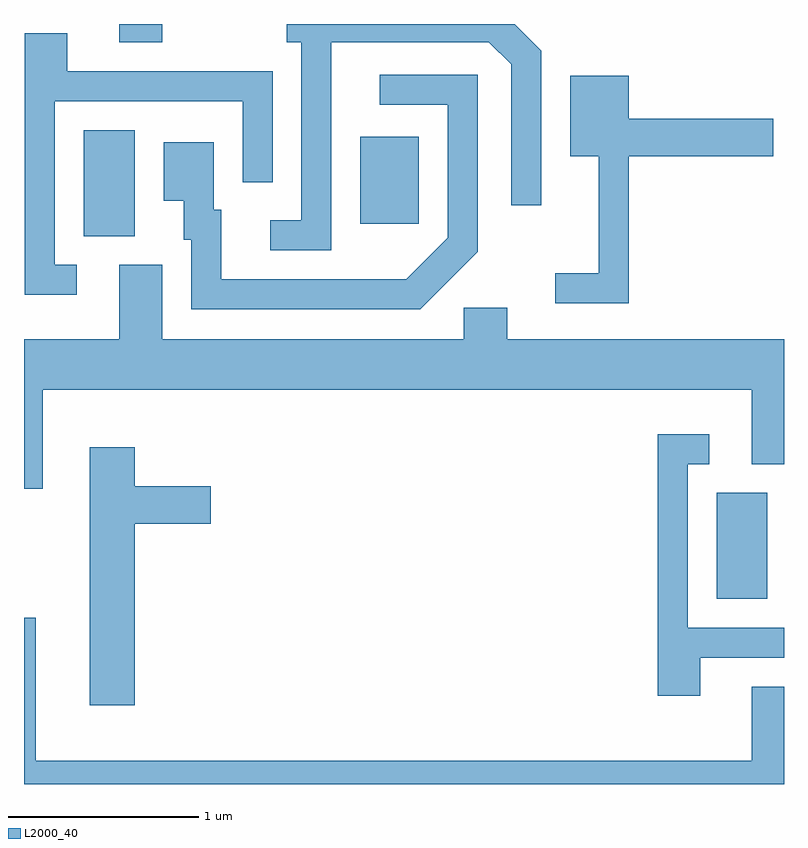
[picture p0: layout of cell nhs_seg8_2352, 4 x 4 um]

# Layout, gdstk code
import gdstk
lib = gdstk.Library(unit=1e-6, precision=1e-09)
def R(c, l, rs):  # rectangles x0, y0, x1, y1
    for r in rs: c.add(gdstk.rectangle(r[:2], r[2:], *l))
def P(c, l, *ps):  # polygons
    for p in ps: c.add(gdstk.Polygon(p, *l))
L2000_40 = (2000, 40)

nhs_seg8_2352 = lib.new_cell('nhs_seg8_2352')
R(nhs_seg8_2352, L2000_40, [(259.256,1835.316,259.524,1835.874), (255.926,1837.226,256.194,1837.784), (257.381,1837.291,257.689,1837.749), (256.111,1838.246,256.339,1838.342)])
P(nhs_seg8_2352, L2000_40, [(257.229,1838.246),(258.058,1838.246),(258.176,1838.129),(258.176,1837.388),(258.334,1837.388),(258.334,1838.202),(258.194,1838.342),(256.993,1838.342),(256.993,1838.246),(257.071,1838.246),(257.071,1837.309),(256.908,1837.309),(256.908,1837.151),(257.229,1837.151)],
  [(255.888,1837.074),(255.774,1837.074),(255.774,1837.936),(256.761,1837.936),(256.761,1837.508),(256.919,1837.508),(256.919,1838.094),(255.839,1838.094),(255.839,1838.294),(255.616,1838.294),(255.616,1836.916),(255.888,1836.916)],
  [(257.999,1837.144),(257.999,1838.074),(257.483,1838.074),(257.483,1837.916),(257.841,1837.916),(257.841,1837.217),(257.623,1836.999),(256.649,1836.999),(256.649,1837.364),(256.609,1837.364),(256.609,1837.719),(256.346,1837.719),(256.346,1837.411),(256.451,1837.411),(256.451,1837.206),(256.491,1837.206),(256.491,1836.841),(257.697,1836.841)],
  [(258.794,1837.646),(259.554,1837.646),(259.554,1837.844),(258.794,1837.844),(258.794,1838.069),(258.486,1838.069),(258.486,1837.646),(258.636,1837.646),(258.636,1837.029),(258.408,1837.029),(258.408,1836.871),(258.794,1836.871)],
  [(255.709,1836.416),(259.441,1836.416),(259.441,1836.026),(259.611,1836.026),(259.611,1836.684),(258.154,1836.684),(258.154,1836.849),(257.926,1836.849),(257.926,1836.684),(256.339,1836.684),(256.339,1837.074),(256.111,1837.074),(256.111,1836.684),(255.611,1836.684),(255.611,1835.896),(255.709,1835.896)],
  [(259.169,1835.006),(259.611,1835.006),(259.611,1835.164),(259.104,1835.164),(259.104,1836.026),(259.218,1836.026),(259.218,1836.184),(258.946,1836.184),(258.946,1834.806),(259.169,1834.806)],
  [(256.194,1835.711),(256.594,1835.711),(256.594,1835.909),(256.194,1835.909),(256.194,1836.114),(255.956,1836.114),(255.956,1834.756),(256.194,1834.756)],
  [(259.611,1834.854),(259.441,1834.854),(259.441,1834.464),(255.674,1834.464),(255.674,1835.218),(255.611,1835.218),(255.611,1834.342),(259.611,1834.342)])

lib.write_gds('nhs_seg8_2352.gds')
